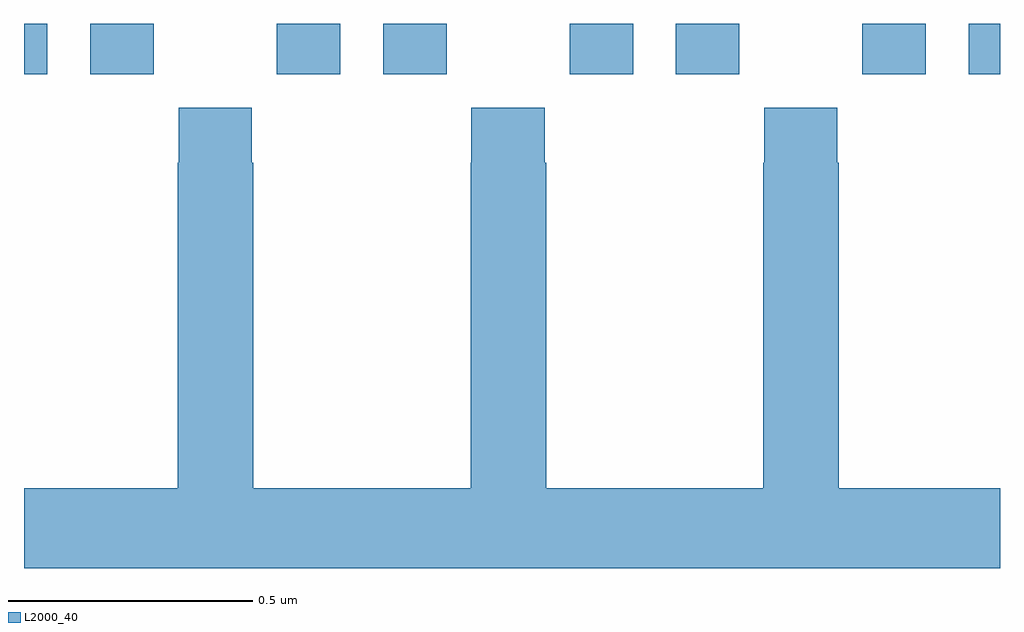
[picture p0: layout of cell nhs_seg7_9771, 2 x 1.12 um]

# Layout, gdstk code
import gdstk
lib = gdstk.Library(unit=1e-6, precision=1e-09)
def R(c, l, rs):  # rectangles x0, y0, x1, y1
    for r in rs: c.add(gdstk.rectangle(r[:2], r[2:], *l))
def P(c, l, *ps):  # polygons
    for p in ps: c.add(gdstk.Polygon(p, *l))
L2000_40 = (2000, 40)

nhs_seg7_9771 = lib.new_cell('nhs_seg7_9771')
R(nhs_seg7_9771, L2000_40, [(241,1066.896,241.048,1067), (241.136,1066.896,241.266,1067), (241.518,1066.896,241.648,1067), (241.736,1066.896,241.866,1067), (242.118,1066.896,242.248,1067), (242.336,1066.896,242.466,1067), (242.718,1066.896,242.848,1067), (242.936,1066.896,243,1067)])
P(nhs_seg7_9771, L2000_40, [(243,1066.048),(242.67,1066.048),(242.67,1066.715),(242.667,1066.715),(242.667,1066.828),(242.517,1066.828),(242.517,1066.715),(242.515,1066.715),(242.515,1066.048),(242.07,1066.048),(242.07,1066.715),(242.067,1066.715),(242.067,1066.828),(241.917,1066.828),(241.917,1066.715),(241.915,1066.715),(241.915,1066.048),(241.47,1066.048),(241.47,1066.715),(241.467,1066.715),(241.467,1066.828),(241.317,1066.828),(241.317,1066.715),(241.315,1066.715),(241.315,1066.048),(241,1066.048),(241,1065.884),(243,1065.884)])

lib.write_gds('nhs_seg7_9771.gds')
